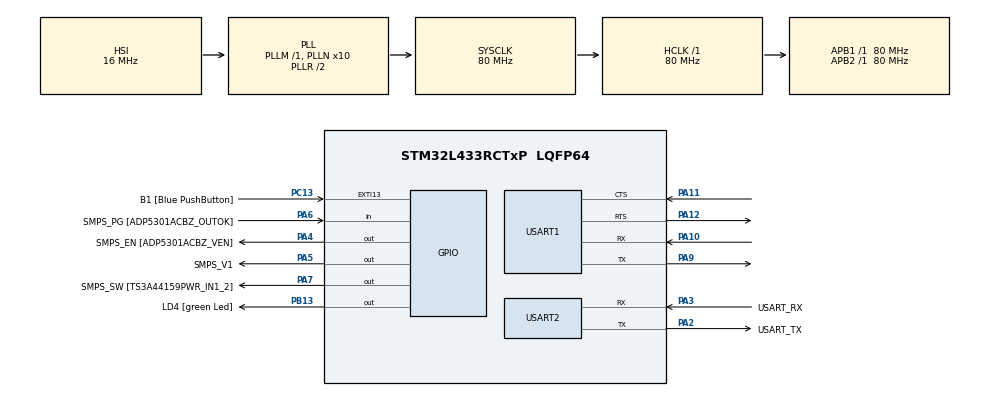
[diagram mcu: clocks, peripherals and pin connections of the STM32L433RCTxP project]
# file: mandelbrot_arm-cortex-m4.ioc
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Mcu.Family=STM32L4
Mcu.Name=STM32L433RCTxP
Mcu.Package=LQFP64
NVIC.PriorityGroup=NVIC_PRIORITYGROUP_4
PA10.Mode=Asynchronous
PA10.Signal=USART1_RX
PA11.Mode=CTS_RTS
PA11.Signal=USART1_CTS
PA12.Mode=CTS_RTS
PA12.Signal=USART1_RTS
PA13\ (JTMS-SWDIO).GPIO_Label=TMS
PA13\ (JTMS-SWDIO).Mode=Serial_Wire
PA13\ (JTMS-SWDIO).Signal=SYS_JTMS-SWDIO
PA14\ (JTCK-SWCLK).GPIO_Label=TCK
PA14\ (JTCK-SWCLK).Mode=Serial_Wire
PA14\ (JTCK-SWCLK).Signal=SYS_JTCK-SWCLK
PA2.GPIO_Label=USART_TX
PA2.GPIO_Mode=GPIO_MODE_AF_PP
PA2.GPIO_PuPd=GPIO_NOPULL
PA2.GPIO_Speed=GPIO_SPEED_FREQ_VERY_HIGH
PA2.Mode=Asynchronous
PA2.Signal=USART2_TX
PA3.GPIO_Label=USART_RX
PA3.GPIO_Mode=GPIO_MODE_AF_PP
PA3.GPIO_PuPd=GPIO_NOPULL
PA3.GPIO_Speed=GPIO_SPEED_FREQ_VERY_HIGH
PA3.Mode=Asynchronous
PA3.Signal=USART2_RX
PA4.GPIO_Label=SMPS_EN [ADP5301ACBZ_VEN]
PA4.Signal=GPIO_Output
PA5.GPIO_Label=SMPS_V1
PA5.GPIO_ModeDefaultOutputPP=GPIO_MODE_OUTPUT_PP
PA5.GPIO_PuPd=GPIO_NOPULL
PA5.GPIO_Speed=GPIO_SPEED_FREQ_LOW
PA5.Signal=GPIO_Output
PA6.GPIO_Label=SMPS_PG [ADP5301ACBZ_OUTOK]
PA6.GPIO_PuPd=GPIO_PULLUP
PA6.Signal=GPIO_Input
PA7.GPIO_Label=SMPS_SW [TS3A44159PWR_IN1_2]
PA7.Signal=GPIO_Output
PA9.Mode=Asynchronous
PA9.Signal=USART1_TX
PB13.GPIO_Label=LD4 [green Led]
PB13.Signal=GPIO_Output
PB3\ (JTDO-TRACESWO).GPIO_Label=SWO
PB3\ (JTDO-TRACESWO).Signal=SYS_JTDO-SWO
PC13.GPIO_Label=B1 [Blue PushButton]
PC13.GPIO_ModeDefaultEXTI=GPIO_MODE_IT_FALLING
PC13.GPIO_PuPd=GPIO_NOPULL
PC13.Signal=GPXTI13
PC14-OSC32_IN\ (PC14).Mode=LSE-External-Oscillator
PC14-OSC32_IN\ (PC14).Signal=RCC_OSC32_IN
PC15-OSC32_OUT\ (PC15).Mode=LSE-External-Oscillator
PC15-OSC32_OUT\ (PC15).Signal=RCC_OSC32_OUT
PH0-OSC_IN\ (PH0).GPIO_Label=MCO
PH0-OSC_IN\ (PH0).Mode=HSE-External-Clock-Source
PH0-OSC_IN\ (PH0).Signal=RCC_OSC_IN
PH1-OSC_OUT\ (PH1).Signal=RCC_OSC_OUT
ProjectManager.HeapSize=0x0
ProjectManager.StackSize=0x400
ProjectManager.TargetToolchain=Makefile
RCC.ADCFreq_Value=64000000
RCC.AHBFreq_Value=80000000
RCC.APB1Freq_Value=80000000
RCC.APB1TimFreq_Value=80000000
RCC.APB2Freq_Value=80000000
RCC.APB2TimFreq_Value=80000000
RCC.CortexFreq_Value=80000000
RCC.HCLKFreq_Value=80000000
RCC.HSE_VALUE=8000000
RCC.HSI48_VALUE=48000000
RCC.HSI_VALUE=16000000
RCC.MSI_VALUE=4000000
RCC.PLLN=10
RCC.PLLSourceVirtual=RCC_PLLSOURCE_HSI
RCC.PREFETCH_ENABLE=1
RCC.SYSCLKFreq_VALUE=80000000
RCC.SYSCLKSource=RCC_SYSCLKSOURCE_PLLCLK
RCC.USBFreq_Value=64000000
RCC.VCOOutputFreq_Value=160000000
USART1.VirtualMode-Asynchronous=VM_ASYNC
USART2.VirtualMode-Asynchronous=VM_ASYNC
board=NUCLEO-L433RC-P

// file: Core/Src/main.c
/* USER CODE BEGIN Header */
/**
  ******************************************************************************
  * @file           : main.c
  * @brief          : Main program body
  ******************************************************************************
  * @attention
  *
  * Copyright (c) 2025 STMicroelectronics.
  * All rights reserved.
  *
  * This software is licensed under terms that can be found in the LICENSE file
  * in the root directory of this software component.
  * If no LICENSE file comes with this software, it is provided AS-IS.
  *
  ******************************************************************************
  */
/* USER CODE END Header */
#include "main.h"

/* USER CODE BEGIN Includes */
#include <stdio.h>

/* USER CODE END Includes */

UART_HandleTypeDef huart1;
UART_HandleTypeDef huart2;

void SystemClock_Config(void);
static void MX_GPIO_Init(void);
static void MX_USART2_UART_Init(void);
static void MX_USART1_UART_Init(void);

/* USER CODE BEGIN 0 */
#ifdef __GNUC__
#define PUTCHAR_PROTOTYPE int __io_putchar(int ch)
#else
#define PUTCHAR_PROTOTYPE int fputc(int ch, FILE *f)
#endif

PUTCHAR_PROTOTYPE {
  HAL_UART_Transmit(&huart2, (uint8_t *)&ch, 1, HAL_MAX_DELAY);
  return ch;
}

#define RES_X 160
#define RES_Y 80
#define ITERS 100
#define CUTOFF 4*4 //^2 is so we don't have to square root when finding abs
/**
#define REAL_MIN -0.7604598999023438
#define REAL_MAX -0.7678184509277344
#define IMAG_MIN -0.09853172302246094
#define IMAG_MAX -0.09117317199707031
**/
#define REAL_MIN -1.
#define REAL_MAX 1.
#define IMAG_MIN -1.
#define IMAG_MAX 1.
#define REAL_SCALE (REAL_MAX - REAL_MIN) / RES_X
#define IMAG_SCALE (IMAG_MAX - IMAG_MIN) / RES_Y

typedef float M_TYPE;

#define TEST_OUTPUT

/* USER CODE END 0 */

int main(void)
{

  /* MCU Configuration--------------------------------------------------------*/

  /* Reset of all peripherals, Initializes the Flash interface and the Systick. */
  HAL_Init();

  /* Configure the system clock */
  SystemClock_Config();

  /* Initialize all configured peripherals */
  MX_GPIO_Init();
  MX_USART2_UART_Init();
  MX_USART1_UART_Init();
  /* USER CODE BEGIN 2 */
  M_TYPE c_r, c_i, z_r, z_i;
  unsigned int i; //iteration count for each pixel
  HAL_GPIO_WritePin(GPIOB, GPIO_PIN_13, 0);
  c_i = IMAG_MIN;
  printf("\nSTART\n");
  for(unsigned int y = 0; y < RES_Y; y++) {
    c_r = REAL_MIN;
    for(unsigned int x = 0; x < RES_Y; x++) {
      z_r = 0;
      z_i = 0;
      for(i = 0; i < ITERS; i++) {
        z_r = (z_r * z_r) - (z_i * z_i) + c_r;
        z_i = (2 * z_i * z_r) + c_i;
        if((z_r * z_r) + (z_i * z_i) > CUTOFF) break;
      }
      c_r += REAL_SCALE;
      #ifdef TEST_OUTPUT
      printf("%u,", i);
      //HAL_Delay(100);
      #endif
    }
    c_i += IMAG_SCALE;
    #ifdef TEST_OUTPUT
    printf("\n,", i);
    #endif
  }

  printf("END\n");
  HAL_GPIO_WritePin(GPIOB, GPIO_PIN_13, 1);

  /* USER CODE END 2 */

  /* Infinite loop */
  while (1)
  {

  }
}

void SystemClock_Config(void)
{
  RCC_OscInitTypeDef RCC_OscInitStruct = {0};
  RCC_ClkInitTypeDef RCC_ClkInitStruct = {0};

  /** Configure the main internal regulator output voltage
  */
  if (HAL_PWREx_ControlVoltageScaling(PWR_REGULATOR_VOLTAGE_SCALE1) != HAL_OK)
  {
    Error_Handler();
  }

  /** Initializes the RCC Oscillators according to the specified parameters
  * in the RCC_OscInitTypeDef structure.
  */
  RCC_OscInitStruct.OscillatorType = RCC_OSCILLATORTYPE_HSI;
  RCC_OscInitStruct.HSIState = RCC_HSI_ON;
  RCC_OscInitStruct.HSICalibrationValue = RCC_HSICALIBRATION_DEFAULT;
  RCC_OscInitStruct.PLL.PLLState = RCC_PLL_ON;
  RCC_OscInitStruct.PLL.PLLSource = RCC_PLLSOURCE_HSI;
  RCC_OscInitStruct.PLL.PLLM = 1;
  RCC_OscInitStruct.PLL.PLLN = 10;
  RCC_OscInitStruct.PLL.PLLP = RCC_PLLP_DIV7;
  RCC_OscInitStruct.PLL.PLLQ = RCC_PLLQ_DIV2;
  RCC_OscInitStruct.PLL.PLLR = RCC_PLLR_DIV2;
  if (HAL_RCC_OscConfig(&RCC_OscInitStruct) != HAL_OK)
  {
    Error_Handler();
  }

  /** Initializes the CPU, AHB and APB buses clocks
  */
  RCC_ClkInitStruct.ClockType = RCC_CLOCKTYPE_HCLK|RCC_CLOCKTYPE_SYSCLK
                              |RCC_CLOCKTYPE_PCLK1|RCC_CLOCKTYPE_PCLK2;
  RCC_ClkInitStruct.SYSCLKSource = RCC_SYSCLKSOURCE_PLLCLK;
  RCC_ClkInitStruct.AHBCLKDivider = RCC_SYSCLK_DIV1;
  RCC_ClkInitStruct.APB1CLKDivider = RCC_HCLK_DIV1;
  RCC_ClkInitStruct.APB2CLKDivider = RCC_HCLK_DIV1;

  if (HAL_RCC_ClockConfig(&RCC_ClkInitStruct, FLASH_LATENCY_4) != HAL_OK)
  {
    Error_Handler();
  }
}

static void MX_USART1_UART_Init(void)
{

  huart1.Instance = USART1;
  huart1.Init.BaudRate = 115200;
  huart1.Init.WordLength = UART_WORDLENGTH_8B;
  huart1.Init.StopBits = UART_STOPBITS_1;
  huart1.Init.Parity = UART_PARITY_NONE;
  huart1.Init.Mode = UART_MODE_TX_RX;
  huart1.Init.HwFlowCtl = UART_HWCONTROL_RTS_CTS;
  huart1.Init.OverSampling = UART_OVERSAMPLING_16;
  huart1.Init.OneBitSampling = UART_ONE_BIT_SAMPLE_DISABLE;
  huart1.AdvancedInit.AdvFeatureInit = UART_ADVFEATURE_NO_INIT;
  if (HAL_UART_Init(&huart1) != HAL_OK)
  {
    Error_Handler();
  }

}

static void MX_USART2_UART_Init(void)
{

  huart2.Instance = USART2;
  huart2.Init.BaudRate = 115200;
  huart2.Init.WordLength = UART_WORDLENGTH_8B;
  huart2.Init.StopBits = UART_STOPBITS_1;
  huart2.Init.Parity = UART_PARITY_NONE;
  huart2.Init.Mode = UART_MODE_TX_RX;
  huart2.Init.HwFlowCtl = UART_HWCONTROL_NONE;
  huart2.Init.OverSampling = UART_OVERSAMPLING_16;
  huart2.Init.OneBitSampling = UART_ONE_BIT_SAMPLE_DISABLE;
  huart2.AdvancedInit.AdvFeatureInit = UART_ADVFEATURE_NO_INIT;
  if (HAL_UART_Init(&huart2) != HAL_OK)
  {
    Error_Handler();
  }

}

static void MX_GPIO_Init(void)
{
  GPIO_InitTypeDef GPIO_InitStruct = {0};

  /* GPIO Ports Clock Enable */
  __HAL_RCC_GPIOC_CLK_ENABLE();
  __HAL_RCC_GPIOH_CLK_ENABLE();
  __HAL_RCC_GPIOA_CLK_ENABLE();
  __HAL_RCC_GPIOB_CLK_ENABLE();

  /*Configure GPIO pin Output Level */
  HAL_GPIO_WritePin(GPIOA, SMPS_EN_Pin|SMPS_V1_Pin|SMPS_SW_Pin, GPIO_PIN_RESET);

  /*Configure GPIO pin Output Level */
  HAL_GPIO_WritePin(LD4_GPIO_Port, LD4_Pin, GPIO_PIN_RESET);

  /*Configure GPIO pin : B1_Pin */
  GPIO_InitStruct.Pin = B1_Pin;
  GPIO_InitStruct.Mode = GPIO_MODE_IT_FALLING;
  GPIO_InitStruct.Pull = GPIO_NOPULL;
  HAL_GPIO_Init(B1_GPIO_Port, &GPIO_InitStruct);

  /*Configure GPIO pins : SMPS_EN_Pin SMPS_V1_Pin SMPS_SW_Pin */
  GPIO_InitStruct.Pin = SMPS_EN_Pin|SMPS_V1_Pin|SMPS_SW_Pin;
  GPIO_InitStruct.Mode = GPIO_MODE_OUTPUT_PP;
  GPIO_InitStruct.Pull = GPIO_NOPULL;
  GPIO_InitStruct.Speed = GPIO_SPEED_FREQ_LOW;
  HAL_GPIO_Init(GPIOA, &GPIO_InitStruct);

  /*Configure GPIO pin : SMPS_PG_Pin */
  GPIO_InitStruct.Pin = SMPS_PG_Pin;
  GPIO_InitStruct.Mode = GPIO_MODE_INPUT;
  GPIO_InitStruct.Pull = GPIO_PULLUP;
  HAL_GPIO_Init(SMPS_PG_GPIO_Port, &GPIO_InitStruct);

  /*Configure GPIO pin : LD4_Pin */
  GPIO_InitStruct.Pin = LD4_Pin;
  GPIO_InitStruct.Mode = GPIO_MODE_OUTPUT_PP;
  GPIO_InitStruct.Pull = GPIO_NOPULL;
  GPIO_InitStruct.Speed = GPIO_SPEED_FREQ_LOW;
  HAL_GPIO_Init(LD4_GPIO_Port, &GPIO_InitStruct);

}

void Error_Handler(void)
{
  __disable_irq();
  while (1)
  {
  }
}
